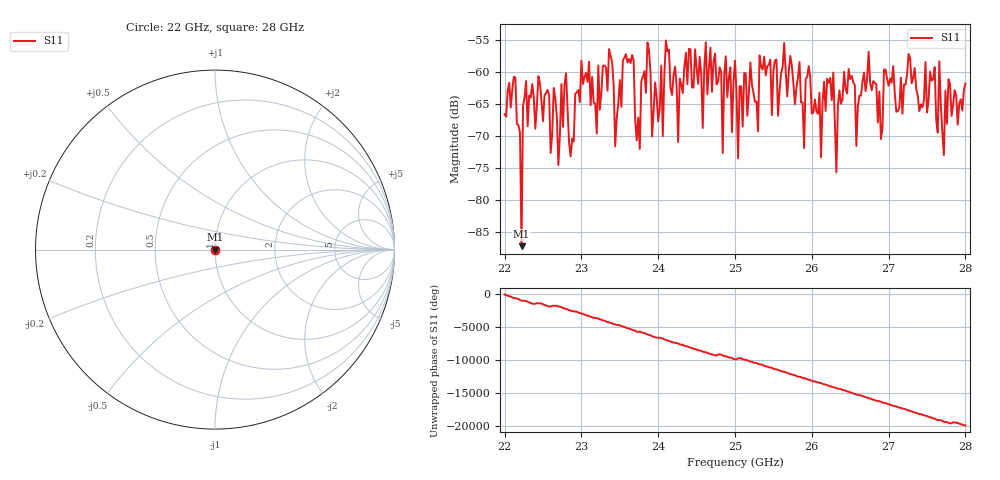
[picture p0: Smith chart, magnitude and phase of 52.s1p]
#  HZ  S  RI  R  50.00
! Rohde & Schwarz ZVA40 4Ports - Version 3.90 - 1145.1110k42 SN: 100403
! Date: 2023-10-04 06:39:03
! Measurement: S12
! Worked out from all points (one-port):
!   301 points, 22 GHz to 28 GHz, reference 50 ohm
!   lowest |S11| = -87.2 dB at 22.22 GHz (marker M1), VSWR 1.00, Z = 50 + j0.0043 ohm
!   |S11| at or under -10 dB: start of sweep to end of sweep
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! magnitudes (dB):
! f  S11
! 22 GHz  -66.6
! 22.14 GHz  -60.9
! 22.22 GHz  -87.2
! 22.28 GHz  -61.4
! 22.76 GHz  -68.6
! 23.5 GHz  -61.3
! 23.76 GHz  -72.0
! 23.86 GHz  -55.4
! 24.06 GHz  -70.0
! 24.1 GHz  -55.1
! 24.26 GHz  -71.0
! 24.36 GHz  -57.0
! 24.58 GHz  -68.8
! 24.74 GHz  -57.2
! 24.84 GHz  -72.7
! 24.88 GHz  -57.6
! 25 GHz  -58.3
! 25.04 GHz  -73.5
! 25.2 GHz  -58.5
! 25.76 GHz  -61.7
! 26.12 GHz  -73.3
! 26.28 GHz  -60.1
! 26.32 GHz  -75.7
! 26.5 GHz  -61.1
! 27.26 GHz  -57.2
! 27.66 GHz  -58.4
! 27.72 GHz  -73.0
! 28 GHz  -61.8
